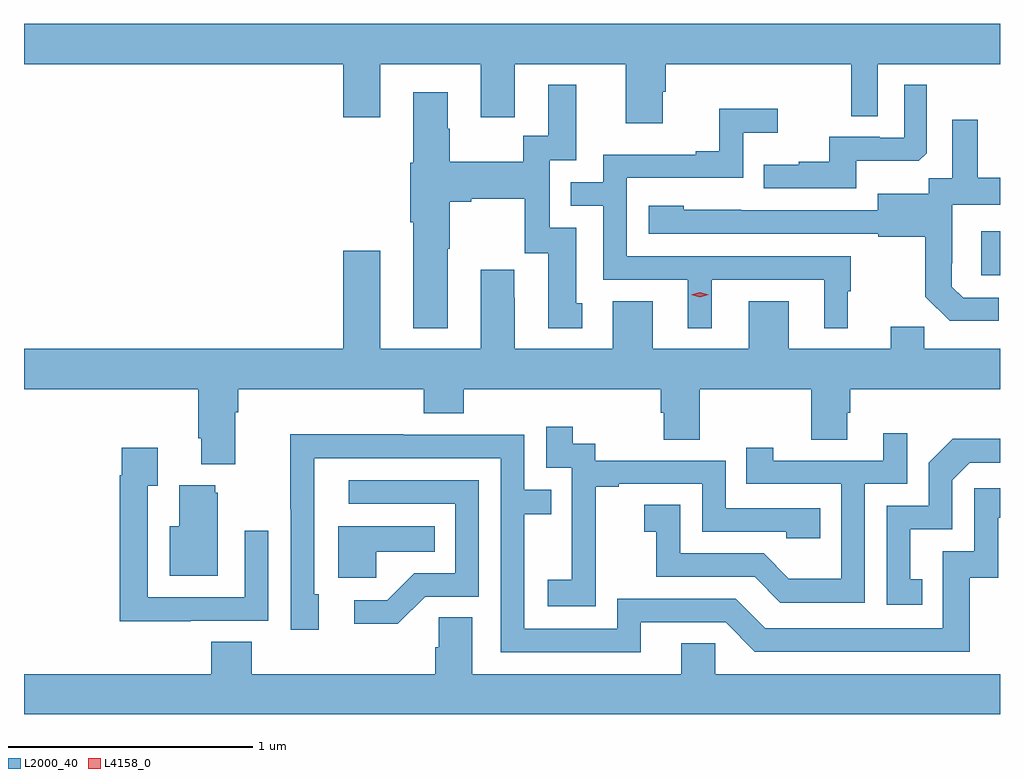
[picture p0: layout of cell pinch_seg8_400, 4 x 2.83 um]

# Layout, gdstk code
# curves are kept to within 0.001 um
import gdstk
lib = gdstk.Library(unit=1e-6, precision=1e-09)
def R(c, l, rs):  # rectangles x0, y0, x1, y1
    for r in rs: c.add(gdstk.rectangle(r[:2], r[2:], *l))
def P(c, l, *ps):  # polygons
    for p in ps: c.add(gdstk.Polygon(p, *l))
L2000_40 = (2000, 40)
L4158_0 = (4158, 0)

pinch_seg8_400 = lib.new_cell('pinch_seg8_400')
R(pinch_seg8_400, L2000_40, [(533.171,1108.974,533.247,1109.155)])
P(pinch_seg8_400, L2000_40, [(529.247,1109.84),(530.555,1109.84),(530.555,1109.622),(530.707,1109.622),(530.707,1109.84),(531.119,1109.84),(531.119,1109.622),(531.259,1109.622),(531.259,1109.84),(531.713,1109.84),(531.713,1109.598),(531.865,1109.598),(531.865,1109.727),(531.878,1109.727),(531.878,1109.84),(532.638,1109.84),(532.638,1109.626),(532.746,1109.626),(532.746,1109.84),(533.247,1109.84),(533.247,1110.004),(529.247,1110.004)],
  [(530.983,1109.083),(530.991,1109.083),(530.991,1109.276),(531.079,1109.276),(531.079,1109.288),(531.299,1109.288),(531.299,1109.064),(531.395,1109.064),(531.395,1108.758),(531.535,1108.758),(531.535,1108.86),(531.511,1108.86),(531.511,1109.169),(531.402,1109.169),(531.402,1109.445),(531.511,1109.445),(531.511,1109.755),(531.395,1109.755),(531.395,1109.546),(531.294,1109.546),(531.294,1109.44),(530.991,1109.44),(530.991,1109.574),(530.983,1109.574),(530.983,1109.725),(530.843,1109.725),(530.843,1109.436),(530.831,1109.436),(530.831,1109.192),(530.843,1109.192),(530.843,1108.757),(530.983,1108.757)],
  [(532.657,1109.444),(532.915,1109.444),(532.947,1109.475),(532.947,1109.755),(532.854,1109.755),(532.854,1109.538),(532.754,1109.538),(532.754,1109.541),(532.547,1109.541),(532.547,1109.44),(532.423,1109.44),(532.423,1109.428),(532.279,1109.428),(532.279,1109.331),(532.657,1109.331)],
  [(532.066,1108.956),(532.526,1108.956),(532.526,1108.757),(532.624,1108.757),(532.624,1108.908),(532.636,1108.908),(532.636,1109.052),(531.717,1109.052),(531.717,1109.373),(532.194,1109.373),(532.194,1109.558),(532.336,1109.558),(532.336,1109.657),(532.096,1109.657),(532.096,1109.482),(532.001,1109.482),(532.001,1109.469),(531.621,1109.469),(531.621,1109.355),(531.487,1109.355),(531.487,1109.259),(531.621,1109.259),(531.621,1108.956),(531.968,1108.956),(531.968,1108.757),(532.066,1108.757)],
  [(533.242,1108.881),(533.097,1108.881),(533.05,1108.928),(533.05,1109.023),(533.052,1109.023),(533.052,1109.264),(533.247,1109.264),(533.247,1109.374),(533.155,1109.374),(533.155,1109.611),(533.051,1109.611),(533.051,1109.372),(532.956,1109.372),(532.956,1109.308),(532.745,1109.308),(532.745,1109.241),(531.951,1109.242),(531.951,1109.26),(531.807,1109.26),(531.807,1109.145),(532.749,1109.145),(532.749,1109.133),(532.941,1109.133),(532.941,1108.887),(533.041,1108.787),(533.242,1108.787)],
  [(530.113,1108.412),(530.126,1108.412),(530.126,1108.508),(530.885,1108.508),(530.885,1108.409),(531.05,1108.409),(531.05,1108.508),(531.857,1108.508),(531.857,1108.41),(531.869,1108.41),(531.869,1108.3),(532.017,1108.3),(532.017,1108.508),(532.474,1108.508),(532.474,1108.3),(532.621,1108.3),(532.621,1108.41),(532.634,1108.41),(532.634,1108.508),(533.247,1108.508),(533.247,1108.672),(532.937,1108.672),(532.937,1108.763),(532.799,1108.763),(532.799,1108.672),(532.381,1108.672),(532.381,1108.867),(532.217,1108.867),(532.217,1108.672),(531.823,1108.672),(531.823,1108.867),(531.659,1108.867),(531.659,1108.672),(531.259,1108.672),(531.259,1108.883),(531.256,1108.883),(531.256,1108.996),(531.119,1108.996),(531.119,1108.672),(530.707,1108.672),(530.707,1109.074),(530.555,1109.074),(530.555,1108.672),(529.247,1108.672),(529.247,1108.508),(529.961,1108.508),(529.961,1108.306),(529.973,1108.306),(529.973,1108.199),(530.113,1108.199)],
  [(531.591,1107.823),(531.59,1107.823),(531.59,1108.107),(531.685,1108.107),(531.685,1108.119),(532.026,1108.119),(532.026,1107.924),(532.371,1107.924),(532.371,1107.897),(532.511,1107.897),(532.511,1108.02),(532.122,1108.02),(532.122,1108.215),(531.588,1108.215),(531.588,1108.284),(531.496,1108.284),(531.496,1108.354),(531.387,1108.354),(531.387,1108.185),(531.492,1108.185),(531.492,1107.956),(531.491,1107.956),(531.491,1107.727),(531.393,1107.727),(531.393,1107.617),(531.591,1107.617)],
  [(532.692,1108.119),(532.866,1108.119),(532.866,1108.327),(532.769,1108.327),(532.769,1108.215),(532.318,1108.215),(532.318,1108.267),(532.207,1108.267),(532.207,1108.119),(532.596,1108.119),(532.596,1107.73),(532.382,1107.73),(532.278,1107.834),(531.936,1107.834),(531.936,1108.033),(531.789,1108.033),(531.789,1107.923),(531.838,1107.923),(531.838,1107.738),(532.241,1107.738),(532.346,1107.633),(532.692,1107.633)],
  [(531.775,1107.552),(532.122,1107.552),(532.242,1107.432),(533.122,1107.432),(533.122,1107.735),(533.24,1107.735),(533.24,1107.981),(533.247,1107.981),(533.247,1108.102),(533.142,1108.102),(533.142,1107.843),(533.013,1107.843),(533.013,1107.528),(532.284,1107.528),(532.164,1107.648),(531.678,1107.648),(531.678,1107.525),(531.297,1107.525),(531.297,1107.994),(531.407,1107.994),(531.407,1108.095),(531.297,1108.095),(531.297,1108.32),(530.801,1108.32),(530.801,1108.322),(530.338,1108.322),(530.338,1108.015),(530.34,1108.015),(530.34,1107.522),(530.455,1107.522),(530.455,1107.666),(530.436,1107.666),(530.437,1108.224),(531.201,1108.224),(531.201,1107.429),(531.775,1107.429)],
  [(532.928,1107.729),(532.879,1107.729),(532.879,1107.933),(533.052,1107.933),(533.052,1108.134),(533.124,1108.206),(533.247,1108.206),(533.247,1108.304),(533.054,1108.304),(532.956,1108.206),(532.956,1108.029),(532.782,1108.029),(532.782,1107.624),(532.928,1107.624)],
  [(529.931,1107.558),(530.247,1107.558),(530.247,1107.928),(530.151,1107.928),(530.151,1107.654),(529.755,1107.654),(529.755,1108.111),(529.795,1108.111),(529.795,1108.267),(529.647,1108.267),(529.647,1108.154),(529.639,1108.154),(529.639,1107.557),(529.931,1107.557)],
  [(530.892,1107.657),(531.111,1107.657),(531.111,1108.134),(530.577,1108.134),(530.577,1108.038),(531.015,1108.038),(531.015,1107.753),(530.846,1107.753),(530.735,1107.642),(530.601,1107.642),(530.601,1107.545),(530.779,1107.545)],
  [(530.041,1108.083),(530.03,1108.083),(530.03,1108.114),(529.883,1108.114),(529.883,1107.946),(529.844,1107.946),(529.844,1107.743),(530.041,1107.743)],
  [(530.691,1107.842),(530.93,1107.842),(530.93,1107.946),(530.534,1107.946),(530.534,1107.734),(530.691,1107.734)],
  [(533.247,1107.34),(532.08,1107.34),(532.08,1107.467),(531.941,1107.467),(531.941,1107.34),(531.085,1107.34),(531.085,1107.572),(530.946,1107.572),(530.946,1107.449),(530.933,1107.449),(530.933,1107.34),(530.18,1107.34),(530.18,1107.473),(530.015,1107.473),(530.015,1107.34),(529.247,1107.34),(529.247,1107.176),(533.247,1107.176)])
P(pinch_seg8_400, L4158_0, [(532.017,1108.885),(531.981,1108.894),(531.981,1108.895),(531.981,1108.895),(532.017,1108.905),(532.053,1108.895),(532.053,1108.895),(532.053,1108.894)])

lib.write_gds('pinch_seg8_400.gds')
